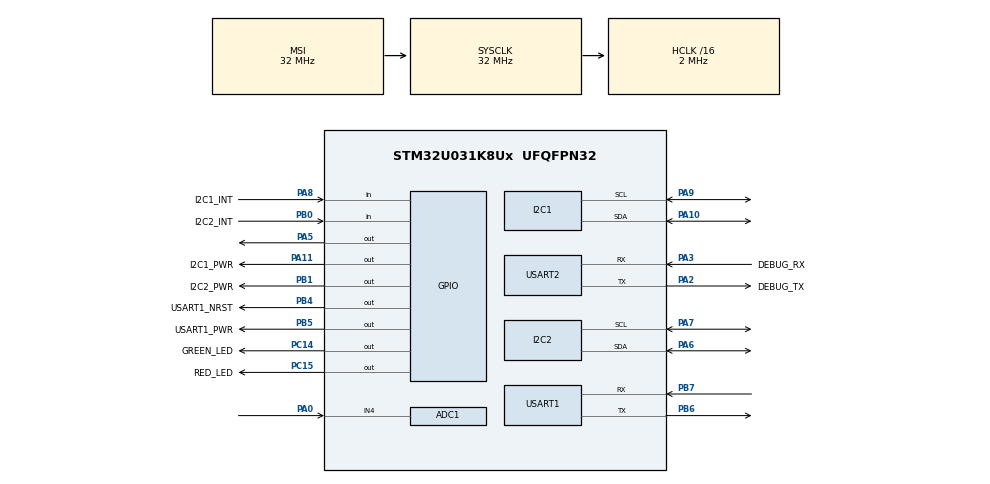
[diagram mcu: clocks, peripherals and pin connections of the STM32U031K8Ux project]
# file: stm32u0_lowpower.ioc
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ADC1.Channel-0\#ChannelRegularConversion=ADC_CHANNEL_4
ADC1.NbrOfConversionFlag=1
ADC1.Rank-0\#ChannelRegularConversion=1
ADC1.RankArg-0\#ChannelRegularConversion=ADC_REGULAR_RANK_1
ADC1.SamplingTime-0\#ChannelRegularConversion=ADC_SAMPLINGTIME_COMMON_1
ADC1.SelectedChannel=ADC_CHANNEL_4
ADC1.master=1
I2C1.Timing=0x00000509
I2C2.Timing=0x00000509
Mcu.Family=STM32U0
Mcu.Name=STM32U031K8Ux
Mcu.Package=UFQFPN32
NVIC.PriorityGroup=NVIC_PRIORITYGROUP_2
NVIC.RTC_TAMP_IRQn=true\:0\:0\:false\:false\:true\:true\:true\:true
PA0-CK_IN.Mode=IN4
PA0-CK_IN.Signal=ADC1_IN4
PA10.Mode=I2C
PA10.Signal=I2C1_SDA
PA11\ [PA9].GPIO_Label=I2C1_PWR
PA11\ [PA9].Signal=GPIO_Output
PA13\ (SWDIO).Mode=Serial_Wire
PA13\ (SWDIO).Signal=DEBUG_JTMS-SWDIO
PA14\ (SWCLK).Mode=Serial_Wire
PA14\ (SWCLK).Signal=DEBUG_JTCK-SWCLK
PA2.GPIO_Label=DEBUG_TX
PA2.Mode=Asynchronous
PA2.Signal=USART2_TX
PA3.GPIO_Label=DEBUG_RX
PA3.Mode=Asynchronous
PA3.Signal=USART2_RX
PA5.Signal=GPIO_Output
PA6.Mode=I2C
PA6.Signal=I2C2_SDA
PA7.Mode=I2C
PA7.Signal=I2C2_SCL
PA8.GPIO_Label=I2C1_INT
PA8.Signal=GPIO_Input
PA9.Mode=I2C
PA9.Signal=I2C1_SCL
PB0.GPIO_Label=I2C2_INT
PB0.Signal=GPIO_Input
PB1.GPIO_Label=I2C2_PWR
PB1.Signal=GPIO_Output
PB4.GPIO_Label=USART1_NRST
PB4.Signal=GPIO_Output
PB5.GPIO_Label=USART1_PWR
PB5.Signal=GPIO_Output
PB6.Mode=Asynchronous
PB6.Signal=USART1_TX
PB7.Mode=Asynchronous
PB7.Signal=USART1_RX
PC14-OSC32_IN.GPIO_Label=GREEN_LED
PC14-OSC32_IN.Signal=GPIO_Output
PC15-OSC32_OUT.GPIO_Label=RED_LED
PC15-OSC32_OUT.Signal=GPIO_Output
ProjectManager.HeapSize=0x200
ProjectManager.StackSize=0x400
ProjectManager.TargetToolchain=STM32CubeIDE
RCC.ADCFreq_Value=32000000
RCC.AHBCLKDivider=RCC_SYSCLK_DIV16
RCC.AHBFreq_Value=2000000
RCC.CortexFreq_Value=2000000
RCC.HCLKFreq_Value=2000000
RCC.HSE_VALUE=4000000
RCC.HSI48_VALUE=48000000
RCC.HSI_VALUE=16000000
RCC.LSE_VALUE=32768
RCC.MSIClockRangeVal=RCC_MSIRANGE_10
RCC.MSI_VALUE=32000000
RCC.SYSCLKFreq_VALUE=32000000
RCC.SYSCLKSource=RCC_SYSCLKSOURCE_MSI
RCC.VCOOutputFreq_Value=64000000
RTC.AsynchPrediv=0x7f
RTC.SynchPrediv=0xf9
RTC.WakeUpCounter=0x4000
USART1.VirtualMode-Asynchronous=VM_ASYNC
USART2.VirtualMode-Asynchronous=VM_ASYNC
VP_PWR_VS_SECSignals.Mode=Security/Privilege
VP_RTC_VS_RTC_Activate.Mode=RTC_Enabled
VP_RTC_VS_RTC_WakeUp_intern.Mode=WakeUp
board=custom

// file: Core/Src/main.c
/* USER CODE BEGIN Header */
/**
  ******************************************************************************
  * @file           : main.c
  * @brief          : Main program body
  ******************************************************************************
  * @attention
  *
  * Copyright (c) 2026 STMicroelectronics.
  * All rights reserved.
  *
  * This software is licensed under terms that can be found in the LICENSE file
  * in the root directory of this software component.
  * If no LICENSE file comes with this software, it is provided AS-IS.
  *
  ******************************************************************************
  */
/* USER CODE END Header */
#include "main.h"

/* USER CODE BEGIN Includes */
#include "stdio.h"
/* USER CODE END Includes */

ADC_HandleTypeDef hadc1;

I2C_HandleTypeDef hi2c1;
I2C_HandleTypeDef hi2c2;

RTC_HandleTypeDef hrtc;

UART_HandleTypeDef huart1;
UART_HandleTypeDef huart2;

void SystemClock_Config(void);
static void MX_GPIO_Init(void);
static void MX_ADC1_Init(void);
static void MX_I2C1_Init(void);
static void MX_I2C2_Init(void);
static void MX_USART1_UART_Init(void);
static void MX_USART2_UART_Init(void);
static void MX_RTC_Init(void);
/* USER CODE BEGIN PFP */
static void MX_GPIO_DeInit(void);
/* USER CODE END PFP */

/* USER CODE BEGIN 0 */
int _write(int file, char *ptr, int len)
{
  HAL_UART_Transmit(&huart2, (uint8_t *)ptr, len, HAL_MAX_DELAY);
  return len;
}
/* USER CODE END 0 */

int main(void)
{

  /* MCU Configuration--------------------------------------------------------*/

  /* Reset of all peripherals, Initializes the Flash interface and the Systick. */
  HAL_Init();

  /* Configure the system clock */
  SystemClock_Config();

  /* Initialize all configured peripherals */
  MX_GPIO_Init();
  MX_ADC1_Init();
  MX_I2C1_Init();
  MX_I2C2_Init();
  MX_USART1_UART_Init();
  MX_USART2_UART_Init();
  MX_RTC_Init();
  /* USER CODE BEGIN 2 */
  HAL_Delay(500);
  HAL_DBGMCU_DisableDBGStopMode();
  DBGMCU->CR = 0;

  __HAL_RCC_WAKEUPSTOP_CLK_CONFIG(RCC_STOP_WAKEUPCLOCK_MSI);
  /* USER CODE END 2 */

  /* Infinite loop */
  /* USER CODE BEGIN WHILE */
  printf("start-up \r\n");

  while (1)
  {
    printf("wake-up.. \r\n");
    HAL_GPIO_WritePin(GPIOA, GPIO_PIN_5, GPIO_PIN_SET);
    HAL_Delay(100);
    HAL_GPIO_WritePin(GPIOA, GPIO_PIN_5, GPIO_PIN_RESET);

    HAL_UART_DeInit(&huart1);
    HAL_UART_DeInit(&huart2);
    HAL_I2C_DeInit(&hi2c1);
    HAL_I2C_DeInit(&hi2c2);
    HAL_ADC_DeInit(&hadc1);
    MX_GPIO_DeInit();

    HAL_SuspendTick();

    __HAL_RCC_SYSCFG_CLK_DISABLE();

    HAL_PWREx_EnterSTOP2Mode(PWR_STOPENTRY_WFI);

    __HAL_RCC_SYSCFG_CLK_ENABLE();

    HAL_ResumeTick();

    MX_GPIO_Init();
    MX_ADC1_Init();
    MX_I2C1_Init();
    MX_I2C2_Init();
    MX_USART1_UART_Init();
    MX_USART2_UART_Init();
    /* USER CODE END WHILE */

  }
}

void SystemClock_Config(void)
{
  RCC_OscInitTypeDef RCC_OscInitStruct = {0};
  RCC_ClkInitTypeDef RCC_ClkInitStruct = {0};

  /** Configure the main internal regulator output voltage
  */
  HAL_PWREx_ControlVoltageScaling(PWR_REGULATOR_VOLTAGE_SCALE2);

  /** Initializes the RCC Oscillators according to the specified parameters
  * in the RCC_OscInitTypeDef structure.
  */
  RCC_OscInitStruct.OscillatorType = RCC_OSCILLATORTYPE_LSI|RCC_OSCILLATORTYPE_MSI;
  RCC_OscInitStruct.LSIState = RCC_LSI_ON;
  RCC_OscInitStruct.MSIState = RCC_MSI_ON;
  RCC_OscInitStruct.MSICalibrationValue = RCC_MSICALIBRATION_DEFAULT;
  RCC_OscInitStruct.MSIClockRange = RCC_MSIRANGE_10;
  RCC_OscInitStruct.PLL.PLLState = RCC_PLL_NONE;
  if (HAL_RCC_OscConfig(&RCC_OscInitStruct) != HAL_OK)
  {
    Error_Handler();
  }

  /** Initializes the CPU, AHB and APB buses clocks
  */
  RCC_ClkInitStruct.ClockType = RCC_CLOCKTYPE_HCLK|RCC_CLOCKTYPE_SYSCLK
                              |RCC_CLOCKTYPE_PCLK1;
  RCC_ClkInitStruct.SYSCLKSource = RCC_SYSCLKSOURCE_MSI;
  RCC_ClkInitStruct.AHBCLKDivider = RCC_SYSCLK_DIV16;
  RCC_ClkInitStruct.APB1CLKDivider = RCC_HCLK_DIV1;

  if (HAL_RCC_ClockConfig(&RCC_ClkInitStruct, FLASH_LATENCY_0) != HAL_OK)
  {
    Error_Handler();
  }
}

static void MX_ADC1_Init(void)
{

  ADC_ChannelConfTypeDef sConfig = {0};

  /** Configure the global features of the ADC (Clock, Resolution, Data Alignment and number of conversion)
  */
  hadc1.Instance = ADC1;
  hadc1.Init.ClockPrescaler = ADC_CLOCK_SYNC_PCLK_DIV1;
  hadc1.Init.Resolution = ADC_RESOLUTION_12B;
  hadc1.Init.DataAlign = ADC_DATAALIGN_RIGHT;
  hadc1.Init.ScanConvMode = ADC_SCAN_DISABLE;
  hadc1.Init.EOCSelection = ADC_EOC_SINGLE_CONV;
  hadc1.Init.LowPowerAutoWait = DISABLE;
  hadc1.Init.LowPowerAutoPowerOff = DISABLE;
  hadc1.Init.ContinuousConvMode = DISABLE;
  hadc1.Init.NbrOfConversion = 1;
  hadc1.Init.DiscontinuousConvMode = DISABLE;
  hadc1.Init.ExternalTrigConv = ADC_SOFTWARE_START;
  hadc1.Init.ExternalTrigConvEdge = ADC_EXTERNALTRIGCONVEDGE_NONE;
  hadc1.Init.DMAContinuousRequests = DISABLE;
  hadc1.Init.Overrun = ADC_OVR_DATA_PRESERVED;
  hadc1.Init.SamplingTimeCommon1 = ADC_SAMPLETIME_1CYCLE_5;
  hadc1.Init.SamplingTimeCommon2 = ADC_SAMPLETIME_1CYCLE_5;
  hadc1.Init.OversamplingMode = DISABLE;
  hadc1.Init.TriggerFrequencyMode = ADC_TRIGGER_FREQ_HIGH;
  if (HAL_ADC_Init(&hadc1) != HAL_OK)
  {
    Error_Handler();
  }

  /** Configure Regular Channel
  */
  sConfig.Channel = ADC_CHANNEL_4;
  sConfig.Rank = ADC_REGULAR_RANK_1;
  sConfig.SamplingTime = ADC_SAMPLINGTIME_COMMON_1;
  if (HAL_ADC_ConfigChannel(&hadc1, &sConfig) != HAL_OK)
  {
    Error_Handler();
  }

}

static void MX_I2C1_Init(void)
{

  hi2c1.Instance = I2C1;
  hi2c1.Init.Timing = 0x00000509;
  hi2c1.Init.OwnAddress1 = 0;
  hi2c1.Init.AddressingMode = I2C_ADDRESSINGMODE_7BIT;
  hi2c1.Init.DualAddressMode = I2C_DUALADDRESS_DISABLE;
  hi2c1.Init.OwnAddress2 = 0;
  hi2c1.Init.OwnAddress2Masks = I2C_OA2_NOMASK;
  hi2c1.Init.GeneralCallMode = I2C_GENERALCALL_DISABLE;
  hi2c1.Init.NoStretchMode = I2C_NOSTRETCH_DISABLE;
  if (HAL_I2C_Init(&hi2c1) != HAL_OK)
  {
    Error_Handler();
  }

  /** Configure Analogue filter
  */
  if (HAL_I2CEx_ConfigAnalogFilter(&hi2c1, I2C_ANALOGFILTER_ENABLE) != HAL_OK)
  {
    Error_Handler();
  }

  /** Configure Digital filter
  */
  if (HAL_I2CEx_ConfigDigitalFilter(&hi2c1, 0) != HAL_OK)
  {
    Error_Handler();
  }

}

static void MX_I2C2_Init(void)
{

  hi2c2.Instance = I2C2;
  hi2c2.Init.Timing = 0x00000509;
  hi2c2.Init.OwnAddress1 = 0;
  hi2c2.Init.AddressingMode = I2C_ADDRESSINGMODE_7BIT;
  hi2c2.Init.DualAddressMode = I2C_DUALADDRESS_DISABLE;
  hi2c2.Init.OwnAddress2 = 0;
  hi2c2.Init.OwnAddress2Masks = I2C_OA2_NOMASK;
  hi2c2.Init.GeneralCallMode = I2C_GENERALCALL_DISABLE;
  hi2c2.Init.NoStretchMode = I2C_NOSTRETCH_DISABLE;
  if (HAL_I2C_Init(&hi2c2) != HAL_OK)
  {
    Error_Handler();
  }

  /** Configure Analogue filter
  */
  if (HAL_I2CEx_ConfigAnalogFilter(&hi2c2, I2C_ANALOGFILTER_ENABLE) != HAL_OK)
  {
    Error_Handler();
  }

  /** Configure Digital filter
  */
  if (HAL_I2CEx_ConfigDigitalFilter(&hi2c2, 0) != HAL_OK)
  {
    Error_Handler();
  }

}

static void MX_RTC_Init(void)
{

  /** Initialize RTC Only
  */
  hrtc.Instance = RTC;
  hrtc.Init.HourFormat = RTC_HOURFORMAT_24;
  hrtc.Init.AsynchPrediv = 0x7f;
  hrtc.Init.SynchPrediv = 0xf9;
  hrtc.Init.OutPut = RTC_OUTPUT_DISABLE;
  hrtc.Init.OutPutRemap = RTC_OUTPUT_REMAP_NONE;
  hrtc.Init.OutPutPolarity = RTC_OUTPUT_POLARITY_HIGH;
  hrtc.Init.OutPutType = RTC_OUTPUT_TYPE_OPENDRAIN;
  hrtc.Init.OutPutPullUp = RTC_OUTPUT_PULLUP_NONE;
  hrtc.Init.BinMode = RTC_BINARY_NONE;
  if (HAL_RTC_Init(&hrtc) != HAL_OK)
  {
    Error_Handler();
  }

  /** Enable the WakeUp
  */
  if (HAL_RTCEx_SetWakeUpTimer_IT(&hrtc, 0x4000, RTC_WAKEUPCLOCK_RTCCLK_DIV16, 0) != HAL_OK)
  {
    Error_Handler();
  }

}

static void MX_USART1_UART_Init(void)
{

  huart1.Instance = USART1;
  huart1.Init.BaudRate = 115200;
  huart1.Init.WordLength = UART_WORDLENGTH_8B;
  huart1.Init.StopBits = UART_STOPBITS_1;
  huart1.Init.Parity = UART_PARITY_NONE;
  huart1.Init.Mode = UART_MODE_TX_RX;
  huart1.Init.HwFlowCtl = UART_HWCONTROL_NONE;
  huart1.Init.OverSampling = UART_OVERSAMPLING_16;
  huart1.Init.OneBitSampling = UART_ONE_BIT_SAMPLE_DISABLE;
  huart1.Init.ClockPrescaler = UART_PRESCALER_DIV1;
  huart1.AdvancedInit.AdvFeatureInit = UART_ADVFEATURE_NO_INIT;
  if (HAL_UART_Init(&huart1) != HAL_OK)
  {
    Error_Handler();
  }
  if (HAL_UARTEx_SetTxFifoThreshold(&huart1, UART_TXFIFO_THRESHOLD_1_8) != HAL_OK)
  {
    Error_Handler();
  }
  if (HAL_UARTEx_SetRxFifoThreshold(&huart1, UART_RXFIFO_THRESHOLD_1_8) != HAL_OK)
  {
    Error_Handler();
  }
  if (HAL_UARTEx_DisableFifoMode(&huart1) != HAL_OK)
  {
    Error_Handler();
  }

}

static void MX_USART2_UART_Init(void)
{

  huart2.Instance = USART2;
  huart2.Init.BaudRate = 115200;
  huart2.Init.WordLength = UART_WORDLENGTH_8B;
  huart2.Init.StopBits = UART_STOPBITS_1;
  huart2.Init.Parity = UART_PARITY_NONE;
  huart2.Init.Mode = UART_MODE_TX_RX;
  huart2.Init.HwFlowCtl = UART_HWCONTROL_NONE;
  huart2.Init.OverSampling = UART_OVERSAMPLING_16;
  huart2.Init.OneBitSampling = UART_ONE_BIT_SAMPLE_DISABLE;
  huart2.Init.ClockPrescaler = UART_PRESCALER_DIV1;
  huart2.AdvancedInit.AdvFeatureInit = UART_ADVFEATURE_NO_INIT;
  if (HAL_UART_Init(&huart2) != HAL_OK)
  {
    Error_Handler();
  }
  if (HAL_UARTEx_SetTxFifoThreshold(&huart2, UART_TXFIFO_THRESHOLD_1_8) != HAL_OK)
  {
    Error_Handler();
  }
  if (HAL_UARTEx_SetRxFifoThreshold(&huart2, UART_RXFIFO_THRESHOLD_1_8) != HAL_OK)
  {
    Error_Handler();
  }
  if (HAL_UARTEx_DisableFifoMode(&huart2) != HAL_OK)
  {
    Error_Handler();
  }

}

static void MX_GPIO_Init(void)
{
  GPIO_InitTypeDef GPIO_InitStruct = {0};

  /* GPIO Ports Clock Enable */
  __HAL_RCC_GPIOC_CLK_ENABLE();
  __HAL_RCC_GPIOA_CLK_ENABLE();
  __HAL_RCC_GPIOB_CLK_ENABLE();

  /*Configure GPIO pin Output Level */
  HAL_GPIO_WritePin(GPIOC, GREEN_LED_Pin|RED_LED_Pin, GPIO_PIN_RESET);

  /*Configure GPIO pin Output Level */
  HAL_GPIO_WritePin(GPIOA, GPIO_PIN_5|I2C1_PWR_Pin, GPIO_PIN_RESET);

  /*Configure GPIO pin Output Level */
  HAL_GPIO_WritePin(GPIOB, I2C2_PWR_Pin|USART1_NRST_Pin|USART1_PWR_Pin, GPIO_PIN_RESET);

  /*Configure GPIO pins : GREEN_LED_Pin RED_LED_Pin */
  GPIO_InitStruct.Pin = GREEN_LED_Pin|RED_LED_Pin;
  GPIO_InitStruct.Mode = GPIO_MODE_OUTPUT_PP;
  GPIO_InitStruct.Pull = GPIO_NOPULL;
  GPIO_InitStruct.Speed = GPIO_SPEED_FREQ_LOW;
  HAL_GPIO_Init(GPIOC, &GPIO_InitStruct);

  /*Configure GPIO pins : PA5 I2C1_PWR_Pin */
  GPIO_InitStruct.Pin = GPIO_PIN_5|I2C1_PWR_Pin;
  GPIO_InitStruct.Mode = GPIO_MODE_OUTPUT_PP;
  GPIO_InitStruct.Pull = GPIO_NOPULL;
  GPIO_InitStruct.Speed = GPIO_SPEED_FREQ_LOW;
  HAL_GPIO_Init(GPIOA, &GPIO_InitStruct);

  /*Configure GPIO pin : I2C2_INT_Pin */
  GPIO_InitStruct.Pin = I2C2_INT_Pin;
  GPIO_InitStruct.Mode = GPIO_MODE_INPUT;
  GPIO_InitStruct.Pull = GPIO_NOPULL;
  HAL_GPIO_Init(I2C2_INT_GPIO_Port, &GPIO_InitStruct);

  /*Configure GPIO pins : I2C2_PWR_Pin USART1_NRST_Pin USART1_PWR_Pin */
  GPIO_InitStruct.Pin = I2C2_PWR_Pin|USART1_NRST_Pin|USART1_PWR_Pin;
  GPIO_InitStruct.Mode = GPIO_MODE_OUTPUT_PP;
  GPIO_InitStruct.Pull = GPIO_NOPULL;
  GPIO_InitStruct.Speed = GPIO_SPEED_FREQ_LOW;
  HAL_GPIO_Init(GPIOB, &GPIO_InitStruct);

  /*Configure GPIO pin : I2C1_INT_Pin */
  GPIO_InitStruct.Pin = I2C1_INT_Pin;
  GPIO_InitStruct.Mode = GPIO_MODE_INPUT;
  GPIO_InitStruct.Pull = GPIO_NOPULL;
  HAL_GPIO_Init(I2C1_INT_GPIO_Port, &GPIO_InitStruct);

}

/* USER CODE BEGIN 4 */
static void MX_GPIO_DeInit(void)
{
  GPIO_InitTypeDef GPIO_InitStruct = {0};
  /* USER CODE BEGIN MX_GPIO_Init_1 */

  /* USER CODE END MX_GPIO_Init_1 */

  /* GPIO Ports Clock Enable */
  __HAL_RCC_GPIOC_CLK_ENABLE();
  __HAL_RCC_GPIOA_CLK_ENABLE();
  __HAL_RCC_GPIOB_CLK_ENABLE();
  __HAL_RCC_GPIOD_CLK_ENABLE();
  __HAL_RCC_GPIOF_CLK_ENABLE();

  GPIO_InitStruct.Pin = GPIO_PIN_ALL;
  GPIO_InitStruct.Mode = GPIO_MODE_ANALOG;
  GPIO_InitStruct.Pull = GPIO_NOPULL;
  GPIO_InitStruct.Speed = GPIO_SPEED_FREQ_LOW;
  HAL_GPIO_Init(GPIOA, &GPIO_InitStruct);
  HAL_GPIO_Init(GPIOB, &GPIO_InitStruct);
  HAL_GPIO_Init(GPIOC, &GPIO_InitStruct);
  HAL_GPIO_Init(GPIOD, &GPIO_InitStruct);
  HAL_GPIO_Init(GPIOF, &GPIO_InitStruct);

  __HAL_RCC_GPIOC_CLK_DISABLE();
  __HAL_RCC_GPIOA_CLK_DISABLE();
  __HAL_RCC_GPIOB_CLK_DISABLE();
  __HAL_RCC_GPIOD_CLK_DISABLE();
  __HAL_RCC_GPIOF_CLK_DISABLE();
}
/* USER CODE END 4 */

void Error_Handler(void)
{
  __disable_irq();
  while (1)
  {
  }
}
